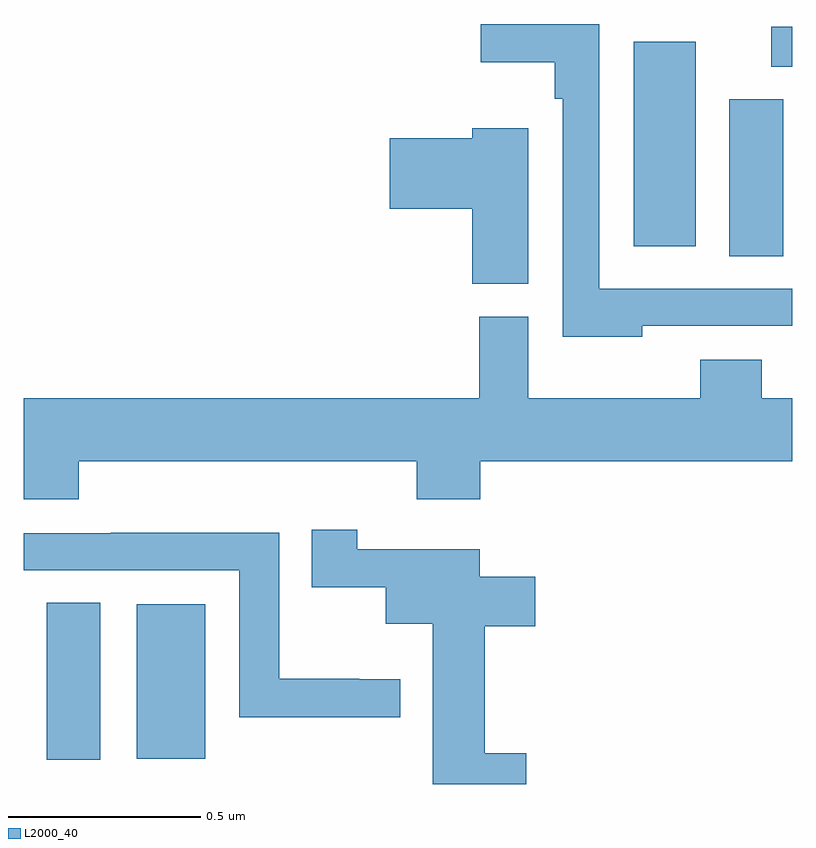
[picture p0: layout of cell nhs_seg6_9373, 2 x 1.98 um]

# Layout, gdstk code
import gdstk
lib = gdstk.Library(unit=1e-6, precision=1e-09)
def R(c, l, rs):  # rectangles x0, y0, x1, y1
    for r in rs: c.add(gdstk.rectangle(r[:2], r[2:], *l))
def P(c, l, *ps):  # polygons
    for p in ps: c.add(gdstk.Polygon(p, *l))
L2000_40 = (2000, 40)

nhs_seg6_9373 = lib.new_cell('nhs_seg6_9373')
R(nhs_seg6_9373, L2000_40, [(233.06,942.563,233.2,942.971), (233.294,942.566,233.473,942.967), (234.836,943.873,234.976,944.281), (234.587,943.899,234.748,944.431), (234.945,944.366,235,944.47)])
P(nhs_seg6_9373, L2000_40, [(234.609,943.692),(235,943.692),(235,943.788),(234.498,943.788),(234.498,944.477),(234.189,944.477),(234.189,944.378),(234.382,944.378),(234.382,944.282),(234.402,944.282),(234.402,943.664),(234.609,943.664)],
  [(234.313,944.206),(234.167,944.206),(234.167,944.18),(233.952,944.18),(233.952,943.997),(234.167,943.997),(234.167,943.801),(234.313,943.801)],
  [(233.144,943.34),(234.023,943.34),(234.023,943.241),(234.188,943.241),(234.188,943.34),(235,943.34),(235,943.504),(234.92,943.504),(234.92,943.603),(234.76,943.603),(234.76,943.504),(234.313,943.504),(234.313,943.716),(234.185,943.716),(234.185,943.504),(233,943.504),(233,943.241),(233.144,943.241)],
  [(234.307,942.58),(234.2,942.58),(234.2,942.91),(234.331,942.91),(234.331,943.039),(234.187,943.039),(234.187,943.111),(233.868,943.111),(233.868,943.162),(233.75,943.162),(233.75,943.012),(233.942,943.012),(233.942,942.917),(234.065,942.917),(234.065,942.5),(234.307,942.5)],
  [(233.98,942.772),(233.873,942.772),(233.873,942.774),(233.665,942.774),(233.665,943.154),(233.227,943.154),(233.227,943.152),(233,943.152),(233,943.056),(233.561,943.056),(233.561,942.674),(233.98,942.674)])

lib.write_gds('nhs_seg6_9373.gds')
